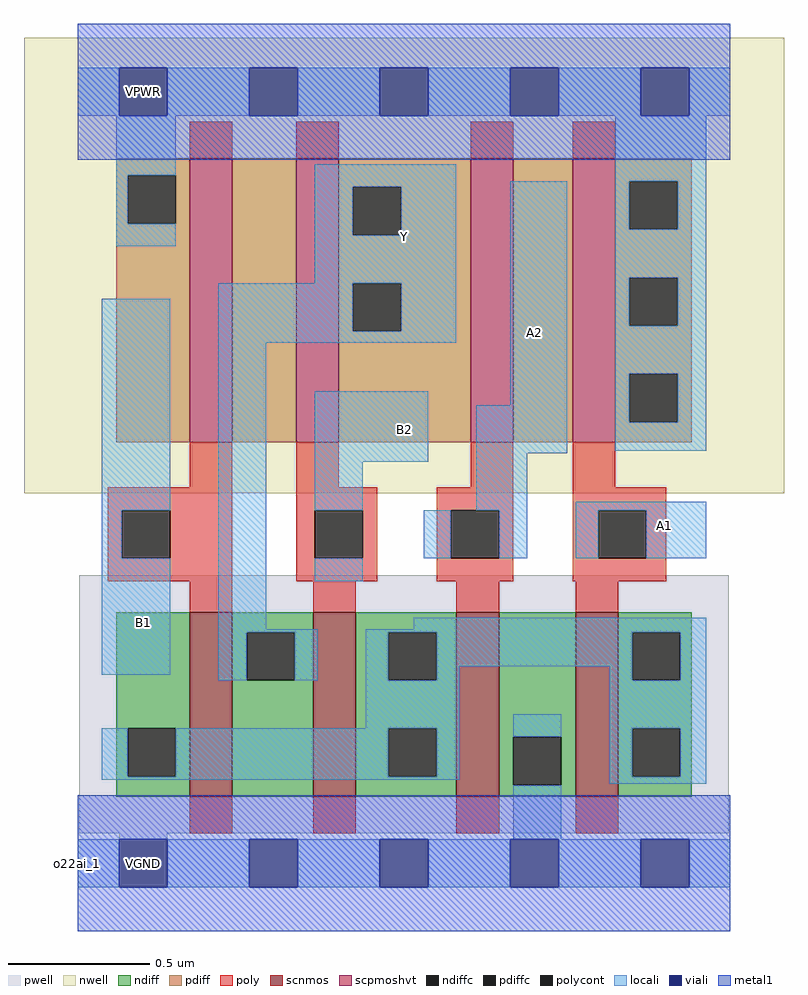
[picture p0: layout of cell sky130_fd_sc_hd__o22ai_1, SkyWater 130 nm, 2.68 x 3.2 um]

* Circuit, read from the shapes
.subckt sky130_fd_sc_hd__o22ai_1 VGND VPWR VPB VNB A1 A2 B1 B2 Y
XM1 Y B1 n1 VNB sky130_fd_pr__nfet_01v8 w=0.65 l=0.15
XM2 n1 B2 Y VNB sky130_fd_pr__nfet_01v8 w=0.65 l=0.15
XM3 VGND A2 n1 VNB sky130_fd_pr__nfet_01v8 w=0.65 l=0.15
XM4 n1 A1 VGND VNB sky130_fd_pr__nfet_01v8 w=0.65 l=0.15
XM5 n2 B1 VPWR VPB sky130_fd_pr__pfet_01v8_hvt w=1 l=0.15
XM6 Y B2 n2 VPB sky130_fd_pr__pfet_01v8_hvt w=1 l=0.15
XM7 n3 A2 Y VPB sky130_fd_pr__pfet_01v8_hvt w=1 l=0.15
XM8 VPWR A1 n3 VPB sky130_fd_pr__pfet_01v8_hvt w=1 l=0.15
.ends

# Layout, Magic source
magic
tech sky130B
magscale 1 2
<< nwell >>
rect -38 221 498 542
<< pwell >>
rect 1 -19 459 163
rect 29 -57 63 -19
<< scnmos >>
rect 79 7 109 137
rect 166 7 196 137
rect 267 7 297 137
rect 351 7 381 137
<< scpmoshvt >>
rect 79 257 109 457
rect 154 257 184 457
rect 277 257 307 457
rect 349 257 379 457
<< ndiff >>
rect 27 55 79 137
rect 27 21 35 55
rect 69 21 79 55
rect 27 7 79 21
rect 109 123 166 137
rect 109 89 119 123
rect 153 89 166 123
rect 109 7 166 89
rect 196 123 267 137
rect 196 89 219 123
rect 253 89 267 123
rect 196 55 267 89
rect 196 21 219 55
rect 253 21 267 55
rect 196 7 267 21
rect 297 49 351 137
rect 297 15 307 49
rect 341 15 351 49
rect 297 7 351 15
rect 381 123 433 137
rect 381 89 391 123
rect 425 89 433 123
rect 381 55 433 89
rect 381 21 391 55
rect 425 21 433 55
rect 381 7 433 21
<< pdiff >>
rect 27 445 79 457
rect 27 411 35 445
rect 69 411 79 445
rect 27 257 79 411
rect 109 257 154 457
rect 184 437 277 457
rect 184 403 194 437
rect 228 403 277 437
rect 184 369 277 403
rect 184 335 194 369
rect 228 335 277 369
rect 184 257 277 335
rect 307 257 349 457
rect 379 441 433 457
rect 379 407 389 441
rect 423 407 433 441
rect 379 373 433 407
rect 379 339 389 373
rect 423 339 433 373
rect 379 305 433 339
rect 379 271 389 305
rect 423 271 433 305
rect 379 257 433 271
<< ndiffc >>
rect 35 21 69 55
rect 119 89 153 123
rect 219 89 253 123
rect 219 21 253 55
rect 307 15 341 49
rect 391 89 425 123
rect 391 21 425 55
<< pdiffc >>
rect 35 411 69 445
rect 194 403 228 437
rect 194 335 228 369
rect 389 407 423 441
rect 389 339 423 373
rect 389 271 423 305
<< poly >>
rect 79 457 109 483
rect 154 457 184 483
rect 277 457 307 483
rect 349 457 379 483
rect 79 225 109 257
rect 21 209 109 225
rect 21 175 31 209
rect 65 175 109 209
rect 21 159 109 175
rect 154 225 184 257
rect 277 225 307 257
rect 154 209 211 225
rect 154 175 167 209
rect 201 175 211 209
rect 154 159 211 175
rect 253 209 307 225
rect 253 175 263 209
rect 297 175 307 209
rect 253 159 307 175
rect 349 225 379 257
rect 349 209 415 225
rect 349 175 367 209
rect 401 175 415 209
rect 349 159 415 175
rect 79 137 109 159
rect 166 137 196 159
rect 267 137 297 159
rect 351 137 381 159
rect 79 -19 109 7
rect 166 -19 196 7
rect 267 -19 297 7
rect 351 -19 381 7
<< polycont >>
rect 31 175 65 209
rect 167 175 201 209
rect 263 175 297 209
rect 367 175 401 209
<< locali >>
rect 0 487 29 521
rect 63 487 121 521
rect 155 487 213 521
rect 247 487 305 521
rect 339 487 397 521
rect 431 487 460 521
rect 27 445 69 487
rect 27 411 35 445
rect 27 395 69 411
rect 167 437 267 453
rect 379 441 443 487
rect 167 403 194 437
rect 228 403 267 437
rect 167 369 267 403
rect 17 209 65 358
rect 17 175 31 209
rect 17 93 65 175
rect 99 335 194 369
rect 228 335 267 369
rect 99 327 267 335
rect 99 125 133 327
rect 167 243 247 293
rect 305 283 345 441
rect 281 249 345 283
rect 379 407 389 441
rect 423 407 443 441
rect 379 373 443 407
rect 379 339 389 373
rect 423 339 443 373
rect 379 305 443 339
rect 379 271 389 305
rect 423 271 443 305
rect 379 251 443 271
rect 167 209 201 243
rect 281 209 317 249
rect 244 175 263 209
rect 297 175 317 209
rect 351 209 443 215
rect 351 175 367 209
rect 401 175 443 209
rect 167 159 201 175
rect 237 125 443 133
rect 99 123 169 125
rect 99 89 119 123
rect 153 89 169 123
rect 203 123 443 125
rect 203 89 219 123
rect 253 99 391 123
rect 253 89 269 99
rect 203 55 269 89
rect 375 89 391 99
rect 425 89 443 123
rect 17 21 35 55
rect 69 21 219 55
rect 253 21 269 55
rect 17 19 269 21
rect 307 49 341 65
rect 375 55 443 89
rect 375 21 391 55
rect 425 21 443 55
rect 375 16 443 21
rect 307 -23 341 15
rect 0 -57 29 -23
rect 63 -57 121 -23
rect 155 -57 213 -23
rect 247 -57 305 -23
rect 339 -57 397 -23
rect 431 -57 460 -23
<< viali >>
rect 29 487 63 521
rect 121 487 155 521
rect 213 487 247 521
rect 305 487 339 521
rect 397 487 431 521
rect 29 -57 63 -23
rect 121 -57 155 -23
rect 213 -57 247 -23
rect 305 -57 339 -23
rect 397 -57 431 -23
<< metal1 >>
rect 0 521 460 552
rect 0 487 29 521
rect 63 487 121 521
rect 155 487 213 521
rect 247 487 305 521
rect 339 487 397 521
rect 431 487 460 521
rect 0 456 460 487
rect 0 -23 460 8
rect 0 -57 29 -23
rect 63 -57 121 -23
rect 155 -57 213 -23
rect 247 -57 305 -23
rect 339 -57 397 -23
rect 431 -57 460 -23
rect 0 -88 460 -57
<< labels >>
rlabel comment s 0 -40 0 -40 4 o22ai_1
flabel metal1 s 29 -57 63 -23 0 FreeSans 200 0 0 0 VGND
port 2 nsew
flabel metal1 s 29 487 63 521 0 FreeSans 200 0 0 0 VPWR
port 3 nsew
flabel nwell s 29 487 63 521 0 FreeSans 200 0 0 0 VPB
port 5 nsew
flabel pwell s 29 -57 63 -23 0 FreeSans 200 0 0 0 VNB
port 6 nsew
flabel locali s 305 317 339 351 0 FreeSans 400 0 0 0 A2
port 8 nsew
flabel locali s 29 113 63 147 0 FreeSans 400 0 0 0 B1
port 9 nsew
flabel locali s 213 385 247 419 0 FreeSans 400 0 0 0 Y
port 11 nsew
flabel locali s 397 181 431 215 0 FreeSans 400 0 0 0 A1
port 7 nsew
flabel locali s 213 249 247 283 0 FreeSans 400 0 0 0 B2
port 10 nsew
<< properties >>
string FIXED_BBOX 0 -40 460 504
string path 0.000 -1.000 11.500 -1.000 
<< end >>
